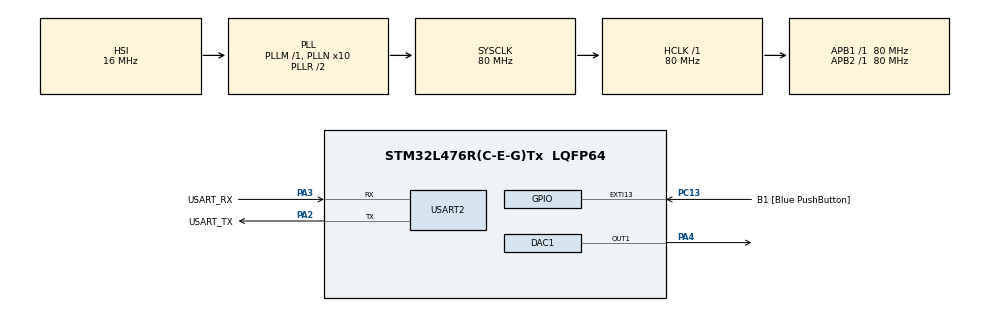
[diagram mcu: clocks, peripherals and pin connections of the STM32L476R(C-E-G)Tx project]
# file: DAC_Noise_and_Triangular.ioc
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Mcu.Family=STM32L4
RCC.MSI_VALUE=4000000
RCC.PLLSourceVirtual=RCC_PLLSOURCE_HSI
PA14\ (JTCK-SWCLK).Mode=Serial_Wire
PA2.GPIO_PuPd=GPIO_NOPULL
RCC.CortexFreq_Value=80000000
PH0-OSC_IN\ (PH0).Signal=RCC_OSC_IN
PC13.Signal=GPXTI13
PA3.GPIO_PuPd=GPIO_NOPULL
PA2.GPIO_Speed=GPIO_SPEED_FREQ_VERY_HIGH
PC15-OSC32_OUT\ (PC15).Signal=RCC_OSC32_OUT
PC15-OSC32_OUT\ (PC15).Mode=LSE-External-Oscillator
PA14\ (JTCK-SWCLK).GPIO_Label=TCK
PB3\ (JTDO-TRACESWO).GPIO_Label=SWO
PC13.GPIO_Label=B1 [Blue PushButton]
PA3.GPIO_Speed=GPIO_SPEED_FREQ_VERY_HIGH
PH1-OSC_OUT\ (PH1).Signal=RCC_OSC_OUT
RCC.SYSCLKSource=RCC_SYSCLKSOURCE_PLLCLK
ProjectManager.StackSize=0x400
PB3\ (JTDO-TRACESWO).Signal=SYS_JTDO-SWO
PC14-OSC32_IN\ (PC14).Mode=LSE-External-Oscillator
PA14\ (JTCK-SWCLK).Signal=SYS_JTCK-SWCLK
PA3.Mode=Asynchronous
ProjectManager.TargetToolchain=STM32CubeIDE
PA3.GPIO_Mode=GPIO_MODE_AF_PP
SH.COMP_DAC11_group.0=DAC1_OUT1,DAC_OUT1
RCC.HCLKFreq_Value=80000000
RCC.APB2TimFreq_Value=80000000
RCC.USBFreq_Value=64000000
RCC.AHBFreq_Value=80000000
RCC.PREFETCH_ENABLE=1
RCC.HSE_VALUE=8000000
board=NUCLEO-L476RG
USART2.VirtualMode-Asynchronous=VM_ASYNC
RCC.VCOOutputFreq_Value=160000000
RCC.APB2Freq_Value=80000000
PA13\ (JTMS-SWDIO).GPIO_Label=TMS
RCC.ADCFreq_Value=64000000
PC13.GPIO_PuPd=GPIO_NOPULL
DAC1.WaveGeneration-DAC_OUT1=TriangleWaveGeneration
DAC1.DAC_Trigger-DAC_OUT1=DAC_TRIGGER_NONE
Mcu.Name=STM32L476R(C-E-G)Tx
PA2.Signal=USART2_TX
PA13\ (JTMS-SWDIO).Mode=Serial_Wire
PA4.Signal=COMP_DAC11_group
RCC.SYSCLKFreq_VALUE=80000000
Mcu.Package=LQFP64
PC13.GPIO_ModeDefaultEXTI=GPIO_MODE_IT_FALLING
DAC1.DAC_OutputBuffer-DAC_OUT1=DAC_OUTPUTBUFFER_ENABLE
PC14-OSC32_IN\ (PC14).Signal=RCC_OSC32_IN
PA2.GPIO_Label=USART_TX
ProjectManager.HeapSize=0x200
RCC.HSI_VALUE=16000000
NVIC.PriorityGroup=NVIC_PRIORITYGROUP_4
RCC.PLLN=10
RCC.APB1TimFreq_Value=80000000
PA2.Mode=Asynchronous
PA13\ (JTMS-SWDIO).Signal=SYS_JTMS-SWDIO
RCC.APB1Freq_Value=80000000
PA3.GPIO_Label=USART_RX
PA3.Signal=USART2_RX
PA2.GPIO_Mode=GPIO_MODE_AF_PP

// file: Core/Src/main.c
/* USER CODE BEGIN Header */
/**
  ******************************************************************************
  * @file           : main.c
  * @brief          : Main program body
  ******************************************************************************
  * @attention
  *
  * <h2><center>&copy; Copyright (c) 2021 STMicroelectronics.
  * All rights reserved.</center></h2>
  *
  * This software component is licensed by ST under BSD 3-Clause license,
  * the "License"; You may not use this file except in compliance with the
  * License. You may obtain a copy of the License at:
  *                        opensource.org/licenses/BSD-3-Clause
  *
  ******************************************************************************
  */
/* USER CODE END Header */
#include "main.h"

/* USER CODE BEGIN Includes */
#include "math.h"
/* USER CODE END Includes */

/* USER CODE BEGIN PD */
#define NBR_OF_SAMPLES	100
/* USER CODE END PD */

DAC_HandleTypeDef hdac1;

UART_HandleTypeDef huart2;

void SystemClock_Config(void);
static void MX_GPIO_Init(void);
static void MX_USART2_UART_Init(void);
static void MX_DAC1_Init(void);

int main(void)
{

  /* MCU Configuration--------------------------------------------------------*/

  /* Reset of all peripherals, Initializes the Flash interface and the Systick. */
  HAL_Init();

  /* Configure the system clock */
  SystemClock_Config();

  /* Initialize all configured peripherals */
  MX_GPIO_Init();
  MX_USART2_UART_Init();
  MX_DAC1_Init();
  /* USER CODE BEGIN 2 */
/*  HAL_DAC_SetValue(&hdac1, DAC_CHANNEL_1, DAC_ALIGN_12B_R, 0x0000);
  HAL_DAC_SetValue(&hdac1, DAC_CHANNEL_2, DAC_ALIGN_12B_R, 0x0FFF);
  HAL_DACEx_TriangleWaveGenerate(&hdac1, DAC_CHANNEL_1, DAC_TRIANGLEAMPLITUDE_4095);
  HAL_DACEx_NoiseWaveGenerate(&hdac1, DAC_CHANNEL_2, DAC_LFSRUNMASK_BITS11_0);
  HAL_DAC_Start(&hdac1, DAC_CHANNEL_1);
  HAL_DAC_Start(&hdac1, DAC_CHANNEL_2);*/

  uint16_t buffer[NBR_OF_SAMPLES];
  uint16_t sin_amp = 0x08FF;

  uint32_t i = 0;

  for(i = 0; i < NBR_OF_SAMPLES; i++)
  {
	  buffer[i] = ((sin_amp + 1)/2) * sin((2 * M_PI * i)/NBR_OF_SAMPLES + 1) + (sin_amp + 1)/2;
  }

  HAL_DAC_Start(&hdac1, DAC_CHANNEL_1);

  uint32_t time = HAL_GetTick();
  uint32_t max_time = 1;

  i = 0;
  /* USER CODE END 2 */

  /* Infinite loop */
  /* USER CODE BEGIN WHILE */
  while (1)
  {
	  if((HAL_GetTick() - time) >= max_time)
	  {
		  time = HAL_GetTick();

		  HAL_DAC_SetValue(&hdac1, DAC_CHANNEL_1, DAC_ALIGN_12B_R, buffer[i]);

		  i++;

		  if(i >= 100)
		  {
			  i = 0;
		  }

		  //SET_BIT(hdac1.Instance->SWTRIGR, DAC_SWTRIGR_SWTRIG1);
		  //SET_BIT(hdac1.Instance->SWTRIGR, DAC_SWTRIGR_SWTRIG2);
	  }

    /* USER CODE END WHILE */

  }
}

void SystemClock_Config(void)
{
  RCC_OscInitTypeDef RCC_OscInitStruct = {0};
  RCC_ClkInitTypeDef RCC_ClkInitStruct = {0};
  RCC_PeriphCLKInitTypeDef PeriphClkInit = {0};

  /** Initializes the RCC Oscillators according to the specified parameters
  * in the RCC_OscInitTypeDef structure.
  */
  RCC_OscInitStruct.OscillatorType = RCC_OSCILLATORTYPE_HSI;
  RCC_OscInitStruct.HSIState = RCC_HSI_ON;
  RCC_OscInitStruct.HSICalibrationValue = RCC_HSICALIBRATION_DEFAULT;
  RCC_OscInitStruct.PLL.PLLState = RCC_PLL_ON;
  RCC_OscInitStruct.PLL.PLLSource = RCC_PLLSOURCE_HSI;
  RCC_OscInitStruct.PLL.PLLM = 1;
  RCC_OscInitStruct.PLL.PLLN = 10;
  RCC_OscInitStruct.PLL.PLLP = RCC_PLLP_DIV7;
  RCC_OscInitStruct.PLL.PLLQ = RCC_PLLQ_DIV2;
  RCC_OscInitStruct.PLL.PLLR = RCC_PLLR_DIV2;
  if (HAL_RCC_OscConfig(&RCC_OscInitStruct) != HAL_OK)
  {
    Error_Handler();
  }
  /** Initializes the CPU, AHB and APB buses clocks
  */
  RCC_ClkInitStruct.ClockType = RCC_CLOCKTYPE_HCLK|RCC_CLOCKTYPE_SYSCLK
                              |RCC_CLOCKTYPE_PCLK1|RCC_CLOCKTYPE_PCLK2;
  RCC_ClkInitStruct.SYSCLKSource = RCC_SYSCLKSOURCE_PLLCLK;
  RCC_ClkInitStruct.AHBCLKDivider = RCC_SYSCLK_DIV1;
  RCC_ClkInitStruct.APB1CLKDivider = RCC_HCLK_DIV1;
  RCC_ClkInitStruct.APB2CLKDivider = RCC_HCLK_DIV1;

  if (HAL_RCC_ClockConfig(&RCC_ClkInitStruct, FLASH_LATENCY_4) != HAL_OK)
  {
    Error_Handler();
  }
  PeriphClkInit.PeriphClockSelection = RCC_PERIPHCLK_USART2;
  PeriphClkInit.Usart2ClockSelection = RCC_USART2CLKSOURCE_PCLK1;
  if (HAL_RCCEx_PeriphCLKConfig(&PeriphClkInit) != HAL_OK)
  {
    Error_Handler();
  }
  /** Configure the main internal regulator output voltage
  */
  if (HAL_PWREx_ControlVoltageScaling(PWR_REGULATOR_VOLTAGE_SCALE1) != HAL_OK)
  {
    Error_Handler();
  }
}

static void MX_DAC1_Init(void)
{

  DAC_ChannelConfTypeDef sConfig = {0};

  /** DAC Initialization
  */
  hdac1.Instance = DAC1;
  if (HAL_DAC_Init(&hdac1) != HAL_OK)
  {
    Error_Handler();
  }
  /** DAC channel OUT1 config
  */
  sConfig.DAC_SampleAndHold = DAC_SAMPLEANDHOLD_DISABLE;
  sConfig.DAC_Trigger = DAC_TRIGGER_NONE;
  sConfig.DAC_OutputBuffer = DAC_OUTPUTBUFFER_ENABLE;
  sConfig.DAC_ConnectOnChipPeripheral = DAC_CHIPCONNECT_DISABLE;
  sConfig.DAC_UserTrimming = DAC_TRIMMING_FACTORY;
  if (HAL_DAC_ConfigChannel(&hdac1, &sConfig, DAC_CHANNEL_1) != HAL_OK)
  {
    Error_Handler();
  }

}

static void MX_USART2_UART_Init(void)
{

  huart2.Instance = USART2;
  huart2.Init.BaudRate = 115200;
  huart2.Init.WordLength = UART_WORDLENGTH_8B;
  huart2.Init.StopBits = UART_STOPBITS_1;
  huart2.Init.Parity = UART_PARITY_NONE;
  huart2.Init.Mode = UART_MODE_TX_RX;
  huart2.Init.HwFlowCtl = UART_HWCONTROL_NONE;
  huart2.Init.OverSampling = UART_OVERSAMPLING_16;
  huart2.Init.OneBitSampling = UART_ONE_BIT_SAMPLE_DISABLE;
  huart2.AdvancedInit.AdvFeatureInit = UART_ADVFEATURE_NO_INIT;
  if (HAL_UART_Init(&huart2) != HAL_OK)
  {
    Error_Handler();
  }

}

static void MX_GPIO_Init(void)
{
  GPIO_InitTypeDef GPIO_InitStruct = {0};

  /* GPIO Ports Clock Enable */
  __HAL_RCC_GPIOC_CLK_ENABLE();
  __HAL_RCC_GPIOH_CLK_ENABLE();
  __HAL_RCC_GPIOA_CLK_ENABLE();
  __HAL_RCC_GPIOB_CLK_ENABLE();

  /*Configure GPIO pin : B1_Pin */
  GPIO_InitStruct.Pin = B1_Pin;
  GPIO_InitStruct.Mode = GPIO_MODE_IT_FALLING;
  GPIO_InitStruct.Pull = GPIO_NOPULL;
  HAL_GPIO_Init(B1_GPIO_Port, &GPIO_InitStruct);

}

void Error_Handler(void)
{
  __disable_irq();
  while (1)
  {
  }
}

/************************ (C) COPYRIGHT STMicroelectronics *****END OF FILE****/
